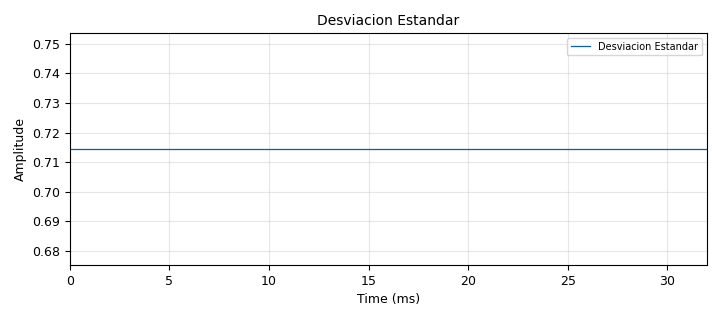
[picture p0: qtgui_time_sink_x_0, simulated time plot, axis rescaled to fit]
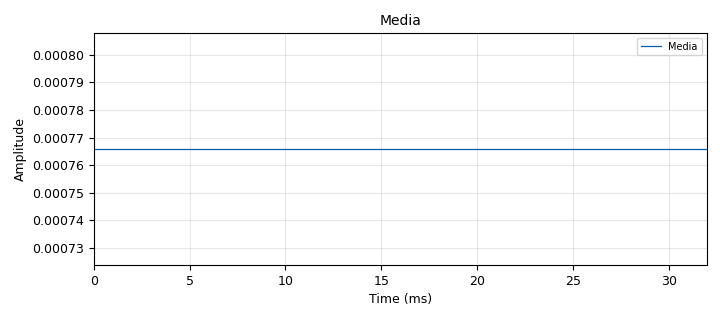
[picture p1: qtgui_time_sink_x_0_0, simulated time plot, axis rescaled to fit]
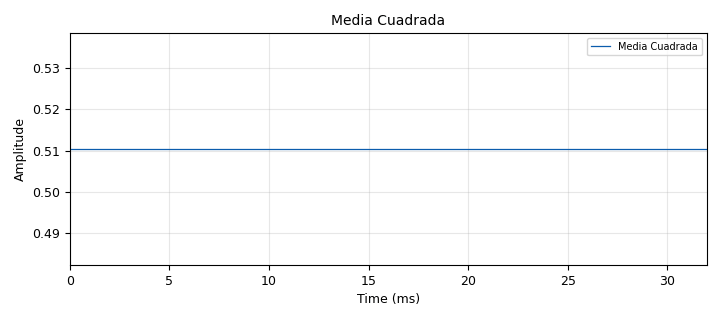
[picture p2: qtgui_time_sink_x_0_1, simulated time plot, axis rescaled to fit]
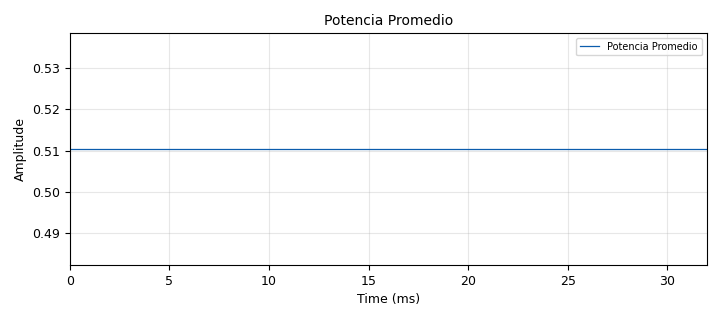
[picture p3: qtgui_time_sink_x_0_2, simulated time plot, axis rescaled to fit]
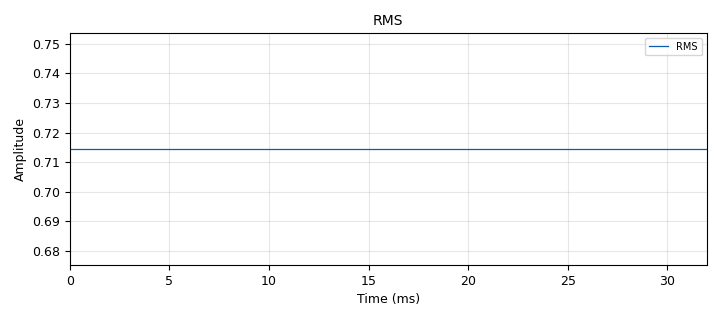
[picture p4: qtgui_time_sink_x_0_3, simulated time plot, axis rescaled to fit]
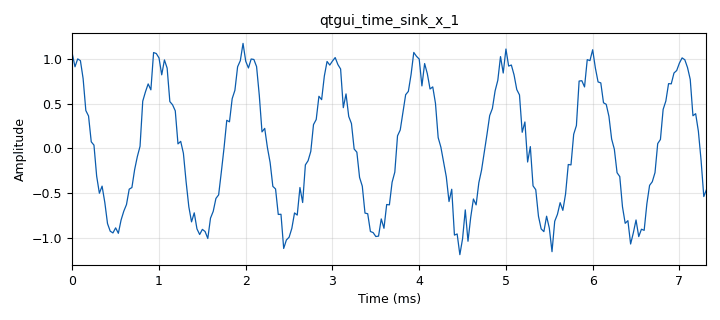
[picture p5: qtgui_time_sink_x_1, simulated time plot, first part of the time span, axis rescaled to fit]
options:
  parameters:
    generate_options: qt_gui
    id: Promedio
    output_language: python
    title: Not titled yet
  states: {}

blocks:
- name: samp_rate
  id: variable
  parameters:
    value: '32000'
  states: {}
- name: analog_noise_source_x_0
  id: analog_noise_source_x
  parameters:
    amp: '0.1'
    noise_type: analog.GR_GAUSSIAN
    seed: '0'
    type: float
  states: {}
- name: analog_sig_source_x_0
  id: analog_sig_source_x
  parameters:
    amp: '1'
    freq: '1000'
    offset: '0'
    phase: '0'
    samp_rate: samp_rate
    type: float
    waveform: analog.GR_COS_WAVE
  states: {}
- name: blocks_add_xx_0
  id: blocks_add_xx
  parameters:
    type: float
  states: {}
- name: blocks_throttle2_0
  id: blocks_throttle2
  parameters:
    samples_per_second: samp_rate
    type: float
  states: {}
- name: epy_block_1
  id: epy_block
  parameters:
    _source_code: |
      """
      Embedded Python Blocks:

      Each time this file is saved, GRC will instantiate the first class it finds
      to get ports and parameters of your block. The arguments to __init__ will
      be the parameters. All of them are required to have default values!
      """

      import numpy as np
      from gnuradio import gr

      class blk(gr.sync_block):
          def __init__(self, ventana_tamano=4096, num_ventanas=20):
              gr.sync_block.__init__(
                  self,
                  name='Promedios_de_tiempos',
                  in_sig=[np.float32],
                  out_sig=[np.float32, np.float32, np.float32, np.float32, np.float32]
              )
              self.ventana_tamano = ventana_tamano
              self.num_ventanas = num_ventanas
              self.ventanas = []
              self.salida_promedio = []
              self.resultados_acumulados = []

            
          def work(self, input_items, output_items):
              x = input_items[0]

              y0 = output_items[0]
              y1 = output_items[1]
              y2 = output_items[2]
              y3 = output_items[3]
              y4 = output_items[4]

              while len(x) >= self.ventana_tamano:
                  ventana = x[:self.ventana_tamano]
                  self.ventanas.append(ventana)
                  x = x[self.ventana_tamano:]

                  resultados = self.procesar_ventana(ventana)
                  self.resultados_acumulados.append(resultados)

                  if len(self.resultados_acumulados) == self.num_ventanas:
                      resultados_array = np.array(self.resultados_acumulados)

                      promedio_por_operacion = np.mean(resultados_array, axis=0)

                      # Asignar los promedios a las salidas correspondientes
                      y0[:] = promedio_por_operacion[0]
                      y1[:] = promedio_por_operacion[1]
                      y2[:] = promedio_por_operacion[2]
                      y3[:] = promedio_por_operacion[3]
                      y4[:] = promedio_por_operacion[4]

                      # Limpiar para la próxima tanda de ventanas
                      self.resultados_acumulados = []
                      self.ventanas = []

              return len(y0)

          def procesar_ventana(self, ventana):
              promedio= np.mean(ventana)
              cua= np.mean(np.multiply(ventana, ventana))
              rms = np.sqrt(cua)
              potencia = np.multiply(rms, rms)
              desviacion_estandar = np.sqrt(np.var(ventana))

              # Retornar los resultados como una lista (promediados para ser consistentes)
              return [promedio, cua, rms, potencia,desviacion_estandar]
    num_ventanas: '10'
    ventana_tamano: '4096'
  states: {}
- name: qtgui_time_sink_x_0
  id: qtgui_time_sink_x
  parameters:
    entags: 'False'
    label1: Desviacion Estandar
    name: '"Desviacion Estandar"'
    size: '1024'
    srate: samp_rate
    type: float
  states: {}
- name: qtgui_time_sink_x_0_0
  id: qtgui_time_sink_x
  parameters:
    label1: Media
    name: '"Media"'
    size: '1024'
    srate: samp_rate
    type: float
  states: {}
- name: qtgui_time_sink_x_0_1
  id: qtgui_time_sink_x
  parameters:
    label1: Media Cuadrada
    name: '"Media Cuadrada"'
    size: '1024'
    srate: samp_rate
    type: float
  states: {}
- name: qtgui_time_sink_x_0_2
  id: qtgui_time_sink_x
  parameters:
    label1: Potencia Promedio
    name: '"Potencia Promedio"'
    size: '1024'
    srate: samp_rate
    type: float
  states: {}
- name: qtgui_time_sink_x_0_3
  id: qtgui_time_sink_x
  parameters:
    label1: RMS
    name: '"RMS"'
    size: '1024'
    srate: samp_rate
    type: float
  states: {}
- name: qtgui_time_sink_x_1
  id: qtgui_time_sink_x
  parameters:
    size: '1024'
    srate: samp_rate
    type: float
  states: {}
- name: qtgui_time_sink_x_1_0
  id: qtgui_time_sink_x
  parameters:
    size: '1024'
    srate: samp_rate
    type: float
  states: {}

connections:
- [analog_noise_source_x_0, '0', blocks_add_xx_0, '1']
- [analog_sig_source_x_0, '0', blocks_add_xx_0, '0']
- [analog_sig_source_x_0, '0', qtgui_time_sink_x_1_0, '0']
- [blocks_add_xx_0, '0', blocks_throttle2_0, '0']
- [blocks_add_xx_0, '0', qtgui_time_sink_x_1, '0']
- [blocks_throttle2_0, '0', epy_block_1, '0']
- [epy_block_1, '0', qtgui_time_sink_x_0_0, '0']
- [epy_block_1, '1', qtgui_time_sink_x_0_1, '0']
- [epy_block_1, '2', qtgui_time_sink_x_0_3, '0']
- [epy_block_1, '3', qtgui_time_sink_x_0_2, '0']
- [epy_block_1, '4', qtgui_time_sink_x_0, '0']

metadata:
  file_format: 1
  grc_version: 3.10.10.0
